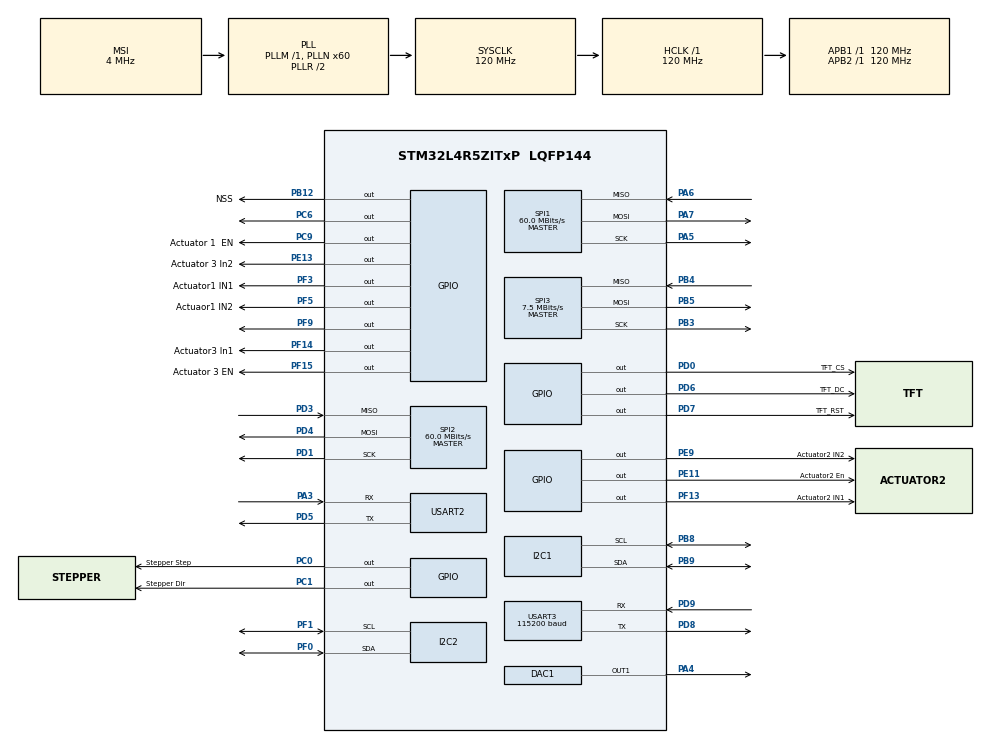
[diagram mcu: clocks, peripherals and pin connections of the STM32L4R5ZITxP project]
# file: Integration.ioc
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I2C1.CustomTiming=Disabled
I2C1.Timing=0x307075B1
I2C2.Timing=0x307075B1
Mcu.Family=STM32L4
Mcu.Name=STM32L4R5ZITxP
Mcu.Package=LQFP144
NVIC.PriorityGroup=NVIC_PRIORITYGROUP_4
NVIC.TIM2_IRQn=true\:0\:0\:false\:false\:true\:true\:true\:true
PA3.Mode=Asynchronous
PA3.Signal=USART2_RX
PA4.Signal=COMP_DAC11_group
PA5.Mode=Full_Duplex_Master
PA5.Signal=SPI1_SCK
PA6.Mode=Full_Duplex_Master
PA6.Signal=SPI1_MISO
PA7.Mode=Full_Duplex_Master
PA7.Signal=SPI1_MOSI
PB12.GPIO_Label=NSS
PB12.PinState=GPIO_PIN_SET
PB12.Signal=GPIO_Output
PB3\ (JTDO/TRACESWO).Mode=Full_Duplex_Master
PB3\ (JTDO/TRACESWO).Signal=SPI3_SCK
PB4\ (NJTRST).Mode=Full_Duplex_Master
PB4\ (NJTRST).Signal=SPI3_MISO
PB5.Mode=Full_Duplex_Master
PB5.Signal=SPI3_MOSI
PB8.Mode=I2C
PB8.Signal=I2C1_SCL
PB9.Mode=I2C
PB9.Signal=I2C1_SDA
PC0.GPIO_Label=Stepper Step
PC0.Signal=GPIO_Output
PC1.GPIO_Label=Stepper Dir
PC1.Signal=GPIO_Output
PC6.Signal=GPIO_Output
PC9.GPIO_Label=Actuator 1  EN
PC9.Signal=GPIO_Output
PD0.GPIO_Label=TFT_CS
PD0.Signal=GPIO_Output
PD1.Mode=Full_Duplex_Master
PD1.Signal=SPI2_SCK
PD3.Mode=Full_Duplex_Master
PD3.Signal=SPI2_MISO
PD4.Mode=Full_Duplex_Master
PD4.Signal=SPI2_MOSI
PD5.Mode=Asynchronous
PD5.Signal=USART2_TX
PD6.GPIO_Label=TFT_DC
PD6.Signal=GPIO_Output
PD7.GPIO_Label=TFT_RST
PD7.Signal=GPIO_Output
PD8.Mode=Asynchronous
PD8.Signal=USART3_TX
PD9.Mode=Asynchronous
PD9.Signal=USART3_RX
PE11.GPIO_Label=Actuator2 En
PE11.Signal=GPIO_Output
PE13.GPIO_Label=Actuator 3 In2
PE13.Signal=GPIO_Output
PE9.GPIO_Label=Actuator2 IN2
PE9.Signal=GPIO_Output
PF0.GPIO_Pu=GPIO_PULLUP
PF0.Mode=I2C
PF0.Signal=I2C2_SDA
PF1.GPIO_Pu=GPIO_PULLUP
PF1.Mode=I2C
PF1.Signal=I2C2_SCL
PF13.GPIO_Label=Actuator2 IN1
PF13.Signal=GPIO_Output
PF14.GPIO_Label=Actuator3 In1
PF14.Signal=GPIO_Output
PF15.GPIO_Label=Actuator 3 EN
PF15.Signal=GPIO_Output
PF3.GPIO_Label=Actuator1 IN1
PF3.Signal=GPIO_Output
PF5.GPIO_Label=Actuaor1 IN2
PF5.Signal=GPIO_Output
PF9.Signal=GPIO_Output
ProjectManager.HeapSize=0x200
ProjectManager.StackSize=0x400
ProjectManager.TargetToolchain=STM32CubeIDE
RCC.ADCFreq_Value=16000000
RCC.AHBFreq_Value=120000000
RCC.APB1Freq_Value=120000000
RCC.APB1TimFreq_Value=120000000
RCC.APB2Freq_Value=120000000
RCC.APB2TimFreq_Value=120000000
RCC.CortexFreq_Value=120000000
RCC.HCLKFreq_Value=120000000
RCC.HSE_VALUE=8000000
RCC.HSI48_VALUE=48000000
RCC.HSI_VALUE=16000000
RCC.LSE_VALUE=32768
RCC.MSI_VALUE=4000000
RCC.PLLN=60
RCC.SYSCLKFreq_VALUE=120000000
RCC.SYSCLKSource=RCC_SYSCLKSOURCE_PLLCLK
RCC.USBFreq_Value=16000000
RCC.VCOOutputFreq_Value=240000000
SH.COMP_DAC11_group.0=DAC1_OUT1,DAC_OUT1
SPI1.CalculateBaudRate=60.0 MBits/s
SPI1.DataSize=SPI_DATASIZE_8BIT
SPI1.Direction=SPI_DIRECTION_2LINES
SPI1.Mode=SPI_MODE_MASTER
SPI1.VirtualType=VM_MASTER
SPI2.BaudRatePrescaler=SPI_BAUDRATEPRESCALER_2
SPI2.CLKPhase=SPI_PHASE_1EDGE
SPI2.CLKPolarity=SPI_POLARITY_LOW
SPI2.CalculateBaudRate=60.0 MBits/s
SPI2.DataSize=SPI_DATASIZE_8BIT
SPI2.Direction=SPI_DIRECTION_2LINES
SPI2.Mode=SPI_MODE_MASTER
SPI2.VirtualType=VM_MASTER
SPI3.BaudRatePrescaler=SPI_BAUDRATEPRESCALER_16
SPI3.CalculateBaudRate=7.5 MBits/s
SPI3.DataSize=SPI_DATASIZE_8BIT
SPI3.Direction=SPI_DIRECTION_2LINES
SPI3.Mode=SPI_MODE_MASTER
SPI3.VirtualType=VM_MASTER
TIM2.Period=90
TIM2.Prescaler=12
USART2.VirtualMode-Asynchronous=VM_ASYNC
USART3.BaudRate=115200
USART3.VirtualMode-Asynchronous=VM_ASYNC
VP_TIM2_VS_ClockSourceINT.Mode=Internal
board=custom

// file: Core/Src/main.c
/* USER CODE BEGIN Header */
/**
  ******************************************************************************
  * @file           : main.c
  * @brief          : Main program body
  ******************************************************************************
  * @attention
  *
  * Copyright (c) 2024 STMicroelectronics.
  * All rights reserved.
  *
  * This software is licensed under terms that can be found in the LICENSE file
  * in the root directory of this software component.
  * If no LICENSE file comes with this software, it is provided AS-IS.
  *
  ******************************************************************************
  */
/* USER CODE END Header */
#include "main.h"

/* USER CODE BEGIN Includes */
#include <stdio.h>
#include <stdint.h>
#include <math.h>
/* USER CODE END Includes */

/* USER CODE BEGIN PM */
#define TIM2_PRSC 12
//look up table for sin wave generation
#define LUT_SIZE 100
uint16_t SIN_LUT[LUT_SIZE];
const double AMP_PCENT = 70.0; //amplitude of sine wave (0- 100)

/* USER CODE END PM */

DAC_HandleTypeDef hdac1;

I2C_HandleTypeDef hi2c1;
I2C_HandleTypeDef hi2c2;

SPI_HandleTypeDef hspi1;
SPI_HandleTypeDef hspi2;
SPI_HandleTypeDef hspi3;

TIM_HandleTypeDef htim2;

UART_HandleTypeDef huart2;
UART_HandleTypeDef huart3;

void SystemClock_Config(void);
static void MX_GPIO_Init(void);
static void MX_SPI2_Init(void);
static void MX_SPI3_Init(void);
static void MX_USART2_UART_Init(void);
static void MX_USART3_UART_Init(void);
static void MX_I2C1_Init(void);
static void MX_SPI1_Init(void);
static void MX_I2C2_Init(void);
static void MX_DAC1_Init(void);
static void MX_TIM2_Init(void);
/* USER CODE BEGIN PFP */
void fill_LUT(void)
{
	//creates a sine wave look up table centered at VREF/2
	double HALF_AMP = (AMP_PCENT/ 100.0) * 2047.0;//calculates a half amplitude given the desired volume
	uint16_t i = 0;
	for(; i < LUT_SIZE; ++i)
	{
		SIN_LUT[i] = (uint16_t) ( (sin( ( (double) i) * 360.0 / ((double) LUT_SIZE)  * 3.14159265/180.0) * HALF_AMP) + 2048.0);
	}
}

//sets compare value (period) for tim2
void setComp(uint32_t newComp)
{
	HAL_TIM_Base_Stop(&htim2);
	htim2.Instance = TIM2;
	htim2.Init.Prescaler = TIM2_PRSC;
	htim2.Init.CounterMode = TIM_COUNTERMODE_UP;
	htim2.Init.Period = newComp;
	htim2.Init.ClockDivision = TIM_CLOCKDIVISION_DIV1;
	htim2.Init.AutoReloadPreload = TIM_AUTORELOAD_PRELOAD_DISABLE;
	if (HAL_TIM_Base_Init(&htim2) != HAL_OK)
	{
		Error_Handler();
	}

	HAL_TIM_Base_Start(&htim2);
}

//frequency = tim2_clk/tim2_prsclr/LUT_SIZE/tim2_prd
//desired tim2_prd = tm2_clk/tim2_prsclr/LUT_SIZE/frequency
//tim2_clk = 120 MHz, tim2_prsclr = 12, LUT_SIZE = 100
void changeNote(float frequency)
{
	setComp((uint32_t) (120000000.0f/TIM2_PRSC/((float)LUT_SIZE)/frequency) );
}

//used to iterate through the LUT
void TIM2_ISR()
{
	static uint32_t index = 0;
	HAL_DAC_SetValue(&hdac1, DAC_CHANNEL_1, DAC_ALIGN_12B_R, SIN_LUT[index]);
	++index;
	if(index > LUT_SIZE) index = 0;
}

/* USER CODE END PFP */

int main(void)
{

  /* USER CODE BEGIN 1 */
	int16_t x;
	int16_t y;

  /* USER CODE END 1 */

  /* MCU Configuration--------------------------------------------------------*/

  /* Reset of all peripherals, Initializes the Flash interface and the Systick. */
  HAL_Init();

  /* Configure the system clock */
  SystemClock_Config();

  /* Initialize all configured peripherals */
  MX_GPIO_Init();
  MX_SPI2_Init();
  MX_SPI3_Init();
  MX_USART2_UART_Init();
  MX_USART3_UART_Init();
  MX_I2C1_Init();
  MX_SPI1_Init();
  MX_I2C2_Init();
  MX_DAC1_Init();
  MX_TIM2_Init();
  /* USER CODE BEGIN 2 */
  ILI9488_Init();
  XPT2046_Init();

  HAL_Delay(250);
  setRotation(1);
  fillScreen(ILI9488_WHITE);
  DS1307_Init(&hi2c1);
  Pixy_init(&hi2c2);

  MX_TIM2_Init();

  fill_LUT();

    HAL_DAC_SetValue(&hdac1, DAC_CHANNEL_1, DAC_ALIGN_12B_R, 0x0);
    HAL_DAC_Start(&hdac1, DAC_CHANNEL_1);

    HAL_TIM_Base_Start_IT(&htim2);

  /* USER CODE END 2 */

  /* Infinite loop */
  /* USER CODE BEGIN WHILE */

	DS1307_Init(&hi2c1);
	xbee_init(&huart2);
	fingerprint_init(&huart3);
	/* To test leap year correction. */
	DS1307_SetDate(4);
	DS1307_SetMonth(3);
	DS1307_SetYear(2024);
	DS1307_SetDayOfWeek(2);
	DS1307_SetHour(22);
	DS1307_SetMinute(13);
	DS1307_SetSecond(30);

	HAL_Delay(1000);

	//Monday at 11:00.
	addNewEntry(0, "WEEWOO2", 1, 11, 00);
	//Friday at 5:30.
	addNewEntry(0, "WEEWOO3", 6, 5, 30);
	//Sunday at 12:00.
	addNewEntry(0, "WEEWOO1", 0, 12, 00);

	uint8_t tx_buff [10] = {0,1,2,3,4,5,6,7,8,9};
	systemInit();
//	fingerprintAddPrint();
//	HAL_Delay(1000);
//	fingerprintScanPrint();
//	HAL_Delay(1000);
//	fingerprintRemovePrint();
//	HAL_Delay(1000);
//xbeeDownloadPills();
	HAL_GPIO_WritePin(GPIOC, GPIO_PIN_6, GPIO_PIN_SET);
  while (1)
  {
//	  runAudio();

//	  changeNote(261.63);
//	   HAL_Delay(1000);
//	   changeNote(293.66);
//	   HAL_Delay(1000);
//	   //changeNote(329.63);
//	   //HAL_Delay(1000);
//	   changeNote(349.23);
//	   HAL_Delay(1000);

	  LockScreen();
	  //HAL_UART_Transmit(&huart2, tx_buff, 10, 1000);

	  /*authenticate(&Dispense);

    /* USER CODE END WHILE */

  }
}

void SystemClock_Config(void)
{
  RCC_OscInitTypeDef RCC_OscInitStruct = {0};
  RCC_ClkInitTypeDef RCC_ClkInitStruct = {0};

  /** Configure the main internal regulator output voltage
  */
  if (HAL_PWREx_ControlVoltageScaling(PWR_REGULATOR_VOLTAGE_SCALE1_BOOST) != HAL_OK)
  {
    Error_Handler();
  }

  /** Initializes the RCC Oscillators according to the specified parameters
  * in the RCC_OscInitTypeDef structure.
  */
  RCC_OscInitStruct.OscillatorType = RCC_OSCILLATORTYPE_MSI;
  RCC_OscInitStruct.MSIState = RCC_MSI_ON;
  RCC_OscInitStruct.MSICalibrationValue = 0;
  RCC_OscInitStruct.MSIClockRange = RCC_MSIRANGE_6;
  RCC_OscInitStruct.PLL.PLLState = RCC_PLL_ON;
  RCC_OscInitStruct.PLL.PLLSource = RCC_PLLSOURCE_MSI;
  RCC_OscInitStruct.PLL.PLLM = 1;
  RCC_OscInitStruct.PLL.PLLN = 60;
  RCC_OscInitStruct.PLL.PLLP = RCC_PLLP_DIV2;
  RCC_OscInitStruct.PLL.PLLQ = RCC_PLLQ_DIV2;
  RCC_OscInitStruct.PLL.PLLR = RCC_PLLR_DIV2;
  if (HAL_RCC_OscConfig(&RCC_OscInitStruct) != HAL_OK)
  {
    Error_Handler();
  }

  /** Initializes the CPU, AHB and APB buses clocks
  */
  RCC_ClkInitStruct.ClockType = RCC_CLOCKTYPE_HCLK|RCC_CLOCKTYPE_SYSCLK
                              |RCC_CLOCKTYPE_PCLK1|RCC_CLOCKTYPE_PCLK2;
  RCC_ClkInitStruct.SYSCLKSource = RCC_SYSCLKSOURCE_PLLCLK;
  RCC_ClkInitStruct.AHBCLKDivider = RCC_SYSCLK_DIV1;
  RCC_ClkInitStruct.APB1CLKDivider = RCC_HCLK_DIV1;
  RCC_ClkInitStruct.APB2CLKDivider = RCC_HCLK_DIV1;

  if (HAL_RCC_ClockConfig(&RCC_ClkInitStruct, FLASH_LATENCY_5) != HAL_OK)
  {
    Error_Handler();
  }
}

static void MX_DAC1_Init(void)
{

  DAC_ChannelConfTypeDef sConfig = {0};

  /** DAC Initialization
  */
  hdac1.Instance = DAC1;
  if (HAL_DAC_Init(&hdac1) != HAL_OK)
  {
    Error_Handler();
  }

  /** DAC channel OUT1 config
  */
  sConfig.DAC_SampleAndHold = DAC_SAMPLEANDHOLD_DISABLE;
  sConfig.DAC_Trigger = DAC_TRIGGER_NONE;
  sConfig.DAC_HighFrequency = DAC_HIGH_FREQUENCY_INTERFACE_MODE_ABOVE_80MHZ;
  sConfig.DAC_OutputBuffer = DAC_OUTPUTBUFFER_ENABLE;
  sConfig.DAC_ConnectOnChipPeripheral = DAC_CHIPCONNECT_DISABLE;
  sConfig.DAC_UserTrimming = DAC_TRIMMING_FACTORY;
  if (HAL_DAC_ConfigChannel(&hdac1, &sConfig, DAC_CHANNEL_1) != HAL_OK)
  {
    Error_Handler();
  }

}

static void MX_I2C1_Init(void)
{

  hi2c1.Instance = I2C1;
  hi2c1.Init.Timing = 0x307075B1;
  hi2c1.Init.OwnAddress1 = 0;
  hi2c1.Init.AddressingMode = I2C_ADDRESSINGMODE_7BIT;
  hi2c1.Init.DualAddressMode = I2C_DUALADDRESS_DISABLE;
  hi2c1.Init.OwnAddress2 = 0;
  hi2c1.Init.OwnAddress2Masks = I2C_OA2_NOMASK;
  hi2c1.Init.GeneralCallMode = I2C_GENERALCALL_DISABLE;
  hi2c1.Init.NoStretchMode = I2C_NOSTRETCH_DISABLE;
  if (HAL_I2C_Init(&hi2c1) != HAL_OK)
  {
    Error_Handler();
  }

  /** Configure Analogue filter
  */
  if (HAL_I2CEx_ConfigAnalogFilter(&hi2c1, I2C_ANALOGFILTER_ENABLE) != HAL_OK)
  {
    Error_Handler();
  }

  /** Configure Digital filter
  */
  if (HAL_I2CEx_ConfigDigitalFilter(&hi2c1, 0) != HAL_OK)
  {
    Error_Handler();
  }

}

static void MX_I2C2_Init(void)
{

  hi2c2.Instance = I2C2;
  hi2c2.Init.Timing = 0x307075B1;
  hi2c2.Init.OwnAddress1 = 0;
  hi2c2.Init.AddressingMode = I2C_ADDRESSINGMODE_7BIT;
  hi2c2.Init.DualAddressMode = I2C_DUALADDRESS_DISABLE;
  hi2c2.Init.OwnAddress2 = 0;
  hi2c2.Init.OwnAddress2Masks = I2C_OA2_NOMASK;
  hi2c2.Init.GeneralCallMode = I2C_GENERALCALL_DISABLE;
  hi2c2.Init.NoStretchMode = I2C_NOSTRETCH_DISABLE;
  if (HAL_I2C_Init(&hi2c2) != HAL_OK)
  {
    Error_Handler();
  }

  /** Configure Analogue filter
  */
  if (HAL_I2CEx_ConfigAnalogFilter(&hi2c2, I2C_ANALOGFILTER_ENABLE) != HAL_OK)
  {
    Error_Handler();
  }

  /** Configure Digital filter
  */
  if (HAL_I2CEx_ConfigDigitalFilter(&hi2c2, 0) != HAL_OK)
  {
    Error_Handler();
  }

}

static void MX_SPI1_Init(void)
{

  /* SPI1 parameter configuration*/
  hspi1.Instance = SPI1;
  hspi1.Init.Mode = SPI_MODE_MASTER;
  hspi1.Init.Direction = SPI_DIRECTION_2LINES;
  hspi1.Init.DataSize = SPI_DATASIZE_8BIT;
  hspi1.Init.CLKPolarity = SPI_POLARITY_LOW;
  hspi1.Init.CLKPhase = SPI_PHASE_1EDGE;
  hspi1.Init.NSS = SPI_NSS_SOFT;
  hspi1.Init.BaudRatePrescaler = SPI_BAUDRATEPRESCALER_2;
  hspi1.Init.FirstBit = SPI_FIRSTBIT_MSB;
  hspi1.Init.TIMode = SPI_TIMODE_DISABLE;
  hspi1.Init.CRCCalculation = SPI_CRCCALCULATION_DISABLE;
  hspi1.Init.CRCPolynomial = 7;
  hspi1.Init.CRCLength = SPI_CRC_LENGTH_DATASIZE;
  hspi1.Init.NSSPMode = SPI_NSS_PULSE_ENABLE;
  if (HAL_SPI_Init(&hspi1) != HAL_OK)
  {
    Error_Handler();
  }

}

static void MX_SPI2_Init(void)
{

  /* SPI2 parameter configuration*/
  hspi2.Instance = SPI2;
  hspi2.Init.Mode = SPI_MODE_MASTER;
  hspi2.Init.Direction = SPI_DIRECTION_2LINES;
  hspi2.Init.DataSize = SPI_DATASIZE_8BIT;
  hspi2.Init.CLKPolarity = SPI_POLARITY_LOW;
  hspi2.Init.CLKPhase = SPI_PHASE_1EDGE;
  hspi2.Init.NSS = SPI_NSS_SOFT;
  hspi2.Init.BaudRatePrescaler = SPI_BAUDRATEPRESCALER_2;
  hspi2.Init.FirstBit = SPI_FIRSTBIT_MSB;
  hspi2.Init.TIMode = SPI_TIMODE_DISABLE;
  hspi2.Init.CRCCalculation = SPI_CRCCALCULATION_DISABLE;
  hspi2.Init.CRCPolynomial = 7;
  hspi2.Init.CRCLength = SPI_CRC_LENGTH_DATASIZE;
  hspi2.Init.NSSPMode = SPI_NSS_PULSE_ENABLE;
  if (HAL_SPI_Init(&hspi2) != HAL_OK)
  {
    Error_Handler();
  }

}

static void MX_SPI3_Init(void)
{

  /* SPI3 parameter configuration*/
  hspi3.Instance = SPI3;
  hspi3.Init.Mode = SPI_MODE_MASTER;
  hspi3.Init.Direction = SPI_DIRECTION_2LINES;
  hspi3.Init.DataSize = SPI_DATASIZE_8BIT;
  hspi3.Init.CLKPolarity = SPI_POLARITY_LOW;
  hspi3.Init.CLKPhase = SPI_PHASE_1EDGE;
  hspi3.Init.NSS = SPI_NSS_SOFT;
  hspi3.Init.BaudRatePrescaler = SPI_BAUDRATEPRESCALER_16;
  hspi3.Init.FirstBit = SPI_FIRSTBIT_MSB;
  hspi3.Init.TIMode = SPI_TIMODE_DISABLE;
  hspi3.Init.CRCCalculation = SPI_CRCCALCULATION_DISABLE;
  hspi3.Init.CRCPolynomial = 7;
  hspi3.Init.CRCLength = SPI_CRC_LENGTH_DATASIZE;
  hspi3.Init.NSSPMode = SPI_NSS_PULSE_ENABLE;
  if (HAL_SPI_Init(&hspi3) != HAL_OK)
  {
    Error_Handler();
  }

}

static void MX_TIM2_Init(void)
{

  TIM_ClockConfigTypeDef sClockSourceConfig = {0};
  TIM_MasterConfigTypeDef sMasterConfig = {0};

  htim2.Instance = TIM2;
  htim2.Init.Prescaler = 12;
  htim2.Init.CounterMode = TIM_COUNTERMODE_UP;
  htim2.Init.Period = 90;
  htim2.Init.ClockDivision = TIM_CLOCKDIVISION_DIV1;
  htim2.Init.AutoReloadPreload = TIM_AUTORELOAD_PRELOAD_DISABLE;
  if (HAL_TIM_Base_Init(&htim2) != HAL_OK)
  {
    Error_Handler();
  }
  sClockSourceConfig.ClockSource = TIM_CLOCKSOURCE_INTERNAL;
  if (HAL_TIM_ConfigClockSource(&htim2, &sClockSourceConfig) != HAL_OK)
  {
    Error_Handler();
  }
  sMasterConfig.MasterOutputTrigger = TIM_TRGO_RESET;
  sMasterConfig.MasterSlaveMode = TIM_MASTERSLAVEMODE_DISABLE;
  if (HAL_TIMEx_MasterConfigSynchronization(&htim2, &sMasterConfig) != HAL_OK)
  {
    Error_Handler();
  }

}

static void MX_USART2_UART_Init(void)
{

  huart2.Instance = USART2;
  huart2.Init.BaudRate = 115200;
  huart2.Init.WordLength = UART_WORDLENGTH_8B;
  huart2.Init.StopBits = UART_STOPBITS_1;
  huart2.Init.Parity = UART_PARITY_NONE;
  huart2.Init.Mode = UART_MODE_TX_RX;
  huart2.Init.HwFlowCtl = UART_HWCONTROL_NONE;
  huart2.Init.OverSampling = UART_OVERSAMPLING_16;
  huart2.Init.OneBitSampling = UART_ONE_BIT_SAMPLE_DISABLE;
  huart2.Init.ClockPrescaler = UART_PRESCALER_DIV1;
  huart2.AdvancedInit.AdvFeatureInit = UART_ADVFEATURE_NO_INIT;
  if (HAL_UART_Init(&huart2) != HAL_OK)
  {
    Error_Handler();
  }
  if (HAL_UARTEx_SetTxFifoThreshold(&huart2, UART_TXFIFO_THRESHOLD_1_8) != HAL_OK)
  {
    Error_Handler();
  }
  if (HAL_UARTEx_SetRxFifoThreshold(&huart2, UART_RXFIFO_THRESHOLD_1_8) != HAL_OK)
  {
    Error_Handler();
  }
  if (HAL_UARTEx_DisableFifoMode(&huart2) != HAL_OK)
  {
    Error_Handler();
  }

}

static void MX_USART3_UART_Init(void)
{

  huart3.Instance = USART3;
  huart3.Init.BaudRate = 115200;
  huart3.Init.WordLength = UART_WORDLENGTH_8B;
  huart3.Init.StopBits = UART_STOPBITS_1;
  huart3.Init.Parity = UART_PARITY_NONE;
  huart3.Init.Mode = UART_MODE_TX_RX;
  huart3.Init.HwFlowCtl = UART_HWCONTROL_NONE;
  huart3.Init.OverSampling = UART_OVERSAMPLING_16;
  huart3.Init.OneBitSampling = UART_ONE_BIT_SAMPLE_DISABLE;
  huart3.Init.ClockPrescaler = UART_PRESCALER_DIV1;
  huart3.AdvancedInit.AdvFeatureInit = UART_ADVFEATURE_NO_INIT;
  if (HAL_UART_Init(&huart3) != HAL_OK)
  {
    Error_Handler();
  }
  if (HAL_UARTEx_SetTxFifoThreshold(&huart3, UART_TXFIFO_THRESHOLD_1_8) != HAL_OK)
  {
    Error_Handler();
  }
  if (HAL_UARTEx_SetRxFifoThreshold(&huart3, UART_RXFIFO_THRESHOLD_1_8) != HAL_OK)
  {
    Error_Handler();
  }
  if (HAL_UARTEx_DisableFifoMode(&huart3) != HAL_OK)
  {
    Error_Handler();
  }

}

static void MX_GPIO_Init(void)
{
  GPIO_InitTypeDef GPIO_InitStruct = {0};

  /* GPIO Ports Clock Enable */
  __HAL_RCC_GPIOF_CLK_ENABLE();
  __HAL_RCC_GPIOC_CLK_ENABLE();
  __HAL_RCC_GPIOA_CLK_ENABLE();
  __HAL_RCC_GPIOE_CLK_ENABLE();
  __HAL_RCC_GPIOB_CLK_ENABLE();
  __HAL_RCC_GPIOD_CLK_ENABLE();

  /*Configure GPIO pin Output Level */
  HAL_GPIO_WritePin(GPIOF, Actuator1_IN1_Pin|Actuaor1_IN2_Pin|GPIO_PIN_9|Actuator2_IN1_Pin
                          |Actuator3_In1_Pin|Actuator_3_EN_Pin, GPIO_PIN_RESET);

  /*Configure GPIO pin Output Level */
  HAL_GPIO_WritePin(GPIOC, Stepper_Step_Pin|Stepper_Dir_Pin|GPIO_PIN_6|Actuator_1_EN_Pin, GPIO_PIN_RESET);

  /*Configure GPIO pin Output Level */
  HAL_GPIO_WritePin(GPIOE, Actuator2_IN2_Pin|Actuator2_En_Pin|Actuator_3_In2_Pin, GPIO_PIN_RESET);

  /*Configure GPIO pin Output Level */
  HAL_GPIO_WritePin(NSS_GPIO_Port, NSS_Pin, GPIO_PIN_SET);

  /*Configure GPIO pin Output Level */
  HAL_GPIO_WritePin(GPIOD, TFT_CS_Pin|TFT_DC_Pin|TFT_RST_Pin, GPIO_PIN_RESET);

  /*Configure GPIO pins : Actuator1_IN1_Pin Actuaor1_IN2_Pin PF9 Actuator2_IN1_Pin
                           Actuator3_In1_Pin Actuator_3_EN_Pin */
  GPIO_InitStruct.Pin = Actuator1_IN1_Pin|Actuaor1_IN2_Pin|GPIO_PIN_9|Actuator2_IN1_Pin
                          |Actuator3_In1_Pin|Actuator_3_EN_Pin;
  GPIO_InitStruct.Mode = GPIO_MODE_OUTPUT_PP;
  GPIO_InitStruct.Pull = GPIO_NOPULL;
  GPIO_InitStruct.Speed = GPIO_SPEED_FREQ_LOW;
  HAL_GPIO_Init(GPIOF, &GPIO_InitStruct);

  /*Configure GPIO pins : Stepper_Step_Pin Stepper_Dir_Pin PC6 Actuator_1_EN_Pin */
  GPIO_InitStruct.Pin = Stepper_Step_Pin|Stepper_Dir_Pin|GPIO_PIN_6|Actuator_1_EN_Pin;
  GPIO_InitStruct.Mode = GPIO_MODE_OUTPUT_PP;
  GPIO_InitStruct.Pull = GPIO_NOPULL;
  GPIO_InitStruct.Speed = GPIO_SPEED_FREQ_LOW;
  HAL_GPIO_Init(GPIOC, &GPIO_InitStruct);

  /*Configure GPIO pins : Actuator2_IN2_Pin Actuator2_En_Pin Actuator_3_In2_Pin */
  GPIO_InitStruct.Pin = Actuator2_IN2_Pin|Actuator2_En_Pin|Actuator_3_In2_Pin;
  GPIO_InitStruct.Mode = GPIO_MODE_OUTPUT_PP;
  GPIO_InitStruct.Pull = GPIO_NOPULL;
  GPIO_InitStruct.Speed = GPIO_SPEED_FREQ_LOW;
  HAL_GPIO_Init(GPIOE, &GPIO_InitStruct);

  /*Configure GPIO pin : NSS_Pin */
  GPIO_InitStruct.Pin = NSS_Pin;
  GPIO_InitStruct.Mode = GPIO_MODE_OUTPUT_PP;
  GPIO_InitStruct.Pull = GPIO_NOPULL;
  GPIO_InitStruct.Speed = GPIO_SPEED_FREQ_LOW;
  HAL_GPIO_Init(NSS_GPIO_Port, &GPIO_InitStruct);

  /*Configure GPIO pins : TFT_CS_Pin TFT_DC_Pin TFT_RST_Pin */
  GPIO_InitStruct.Pin = TFT_CS_Pin|TFT_DC_Pin|TFT_RST_Pin;
  GPIO_InitStruct.Mode = GPIO_MODE_OUTPUT_PP;
  GPIO_InitStruct.Pull = GPIO_NOPULL;
  GPIO_InitStruct.Speed = GPIO_SPEED_FREQ_LOW;
  HAL_GPIO_Init(GPIOD, &GPIO_InitStruct);

}

void Error_Handler(void)
{
  __disable_irq();
  while (1)
  {
  }
}
